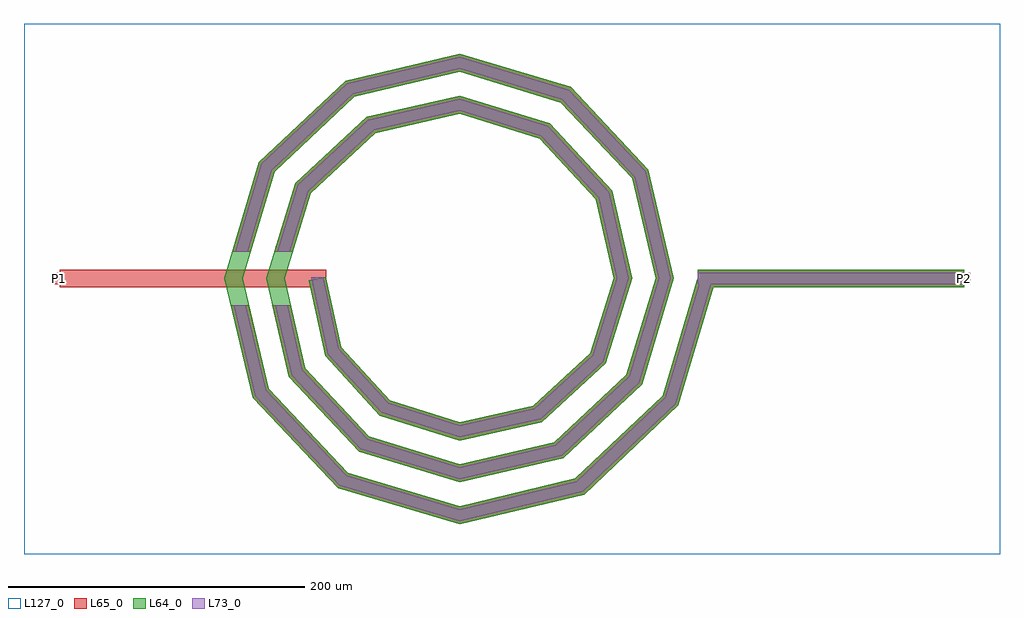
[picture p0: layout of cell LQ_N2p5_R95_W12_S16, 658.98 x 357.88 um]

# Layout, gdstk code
import gdstk
lib = gdstk.Library(unit=1e-6, precision=1e-09)
def R(c, l, rs):  # rectangles x0, y0, x1, y1
    for r in rs: c.add(gdstk.rectangle(r[:2], r[2:], *l))
def P(c, l, *ps):  # polygons
    for p in ps: c.add(gdstk.Polygon(p, *l))
L64_0 = (64, 0)
L65_0 = (65, 0)
L73_0 = (73, 0)
L127_0 = (127, 0)

lq_n2p5_r95_w12_s16 = lib.new_cell('LQ_N2p5_R95_W12_S16')
R(lq_n2p5_r95_w12_s16, L64_0, [(160.894,-6,340.894,6)])
P(lq_n2p5_r95_w12_s16, L64_0, [(-79.747,-46.363),(-47.067,-82.065),(0.265,-96.964),(49.886,-85.887),(88.187,-50.622),(104.044,0.248),(92.027,53.412),(54.176,94.311),(0.233,111.123),(-56.94,98.165),(-100.435,57.728),(-118.203,0.22),(-104.303,-60.468),(-61.278,-106.561),(0.208,-125.283),(63.999,-110.44),(112.687,-64.828),(132.363,0.197),(116.577,67.53),(68.376,118.813),(0.188,139.443),(-71.062,122.713),(-124.94,71.924),(-146.524,0.179),(-128.849,-74.595),(-75.471,-131.068),(0.171,-153.604),(78.128,-134.984),(137.196,-79.018),(161.142,1.706),(172.646,-1.706),(147.785,-85.516),(84.046,-145.908),(0.171,-166.023),(-81.982,-141.649),(-139.78,-80.499),(-158.943,0.179),(-135.513,78.449),(-76.951,133.653),(0.188,151.862),(74.916,129.377),(127.525,73.403),(144.781,0.197),(123.24,-71.384),(69.854,-121.399),(0.208,-137.701),(-67.854,-117.102),(-115.272,-66.303),(-130.62,0.22),(-110.964,64.324),(-62.752,109.146),(0.233,123.539),(60.795,104.825),(103.021,59.199),(116.458,0.248),(98.685,-57.269),(55.645,-96.897),(0.265,-109.378),(-53.743,-92.544),(-90.774,-52.088),(-101.95,-1.289),(-90.23,1.289)])
R(lq_n2p5_r95_w12_s16, L65_0, [(-270.09,-6,-90.09,6), (160.894,-6,340.894,6), (-274.09,-4,-266.09,4), (336.894,-4,344.894,4)])
P(lq_n2p5_r95_w12_s16, L65_0, [(-128.849,-74.595),(-75.471,-131.068),(0.171,-153.604),(78.128,-134.984),(137.196,-79.018),(161.142,1.706),(172.646,-1.706),(147.785,-85.516),(84.046,-145.909),(0.171,-166.023),(-81.982,-141.649),(-139.78,-80.499),(-154.625,-18),(-142.291,-18)],
  [(-104.303,-60.469),(-61.278,-106.561),(0.208,-125.283),(63.999,-110.44),(112.687,-64.828),(132.363,0.197),(116.577,67.53),(68.377,118.813),(0.188,139.444),(-71.062,122.713),(-124.94,71.924),(-141.082,18),(-153.608,18),(-135.513,78.449),(-76.951,133.653),(0.188,151.862),(74.916,129.377),(127.525,73.403),(144.781,0.197),(123.24,-71.384),(69.854,-121.399),(0.208,-137.701),(-67.854,-117.102),(-115.272,-66.303),(-126.417,-18),(-114.101,-18)],
  [(-47.067,-82.065),(0.265,-96.964),(49.886,-85.887),(88.187,-50.622),(104.044,0.248),(92.027,53.412),(54.176,94.311),(0.233,111.124),(-56.94,98.165),(-100.435,57.728),(-112.617,18),(-125.168,18),(-110.964,64.324),(-62.752,109.146),(0.233,123.539),(60.796,104.825),(103.021,59.199),(116.458,0.248),(98.685,-57.269),(55.645,-96.897),(0.265,-109.378),(-53.743,-92.544),(-90.774,-52.088),(-101.95,-1.289),(-90.231,1.289),(-79.747,-46.363)])
R(lq_n2p5_r95_w12_s16, L73_0, [(160.894,-4,340.894,4)])
P(lq_n2p5_r95_w12_s16, L73_0, [(-130.671,-75.579),(-76.557,-132.831),(0.114,-155.674),(79.114,-136.805),(138.961,-80.101),(163.059,1.138),(170.729,-1.138),(146.02,-84.433),(83.059,-144.088),(0.114,-163.953),(-80.897,-139.886),(-137.959,-79.515),(-152.569,-18),(-144.347,-18)],
  [(-106.131,-61.441),(-62.374,-108.318),(0.139,-127.353),(64.974,-112.267),(114.446,-65.921),(134.433,0.132),(118.402,68.509),(69.466,120.574),(0.125,141.513),(-72.043,124.536),(-126.702,73.012),(-143.17,18),(-151.52,18),(-133.751,77.361),(-75.97,131.829),(0.125,149.792),(73.826,127.616),(125.701,72.424),(142.712,0.132),(121.481,-70.292),(68.878,-119.572),(0.139,-135.631),(-66.758,-115.346),(-113.444,-65.331),(-124.364,-18),(-116.154,-18)],
  [(-48.18,-83.812),(0.177,-99.033),(50.846,-87.722),(89.937,-51.73),(106.113,0.165),(93.859,54.377),(55.279,96.063),(0.155,113.193),(-57.908,99.996),(-102.19,58.827),(-114.709,18),(-123.076,18),(-109.209,63.225),(-61.783,107.316),(0.155,121.47),(59.692,103.073),(101.189,58.235),(114.389,0.165),(96.936,-56.161),(54.685,-95.062),(0.177,-107.309),(-52.631,-90.798),(-88.936,-51.134),(-99.997,0.86),(-92.184,0.86),(-81.585,-47.317)])
R(lq_n2p5_r95_w12_s16, L127_0, [(-294.09,-186.023,364.894,171.862)])
lq_n2p5_r95_w12_s16.add(gdstk.Label('P2', (340.894,0), layer=65, texttype=0))
lq_n2p5_r95_w12_s16.add(gdstk.Label('P1', (-270.09,0), layer=65, texttype=0))
lq_n2p5_r95_w12_s16.add(gdstk.Label('P2', (344.894,0), layer=145, texttype=0))
lq_n2p5_r95_w12_s16.add(gdstk.Label('P1', (-274.09,0), layer=145, texttype=0))

lib.write_gds('LQ_N2p5_R95_W12_S16.gds')
